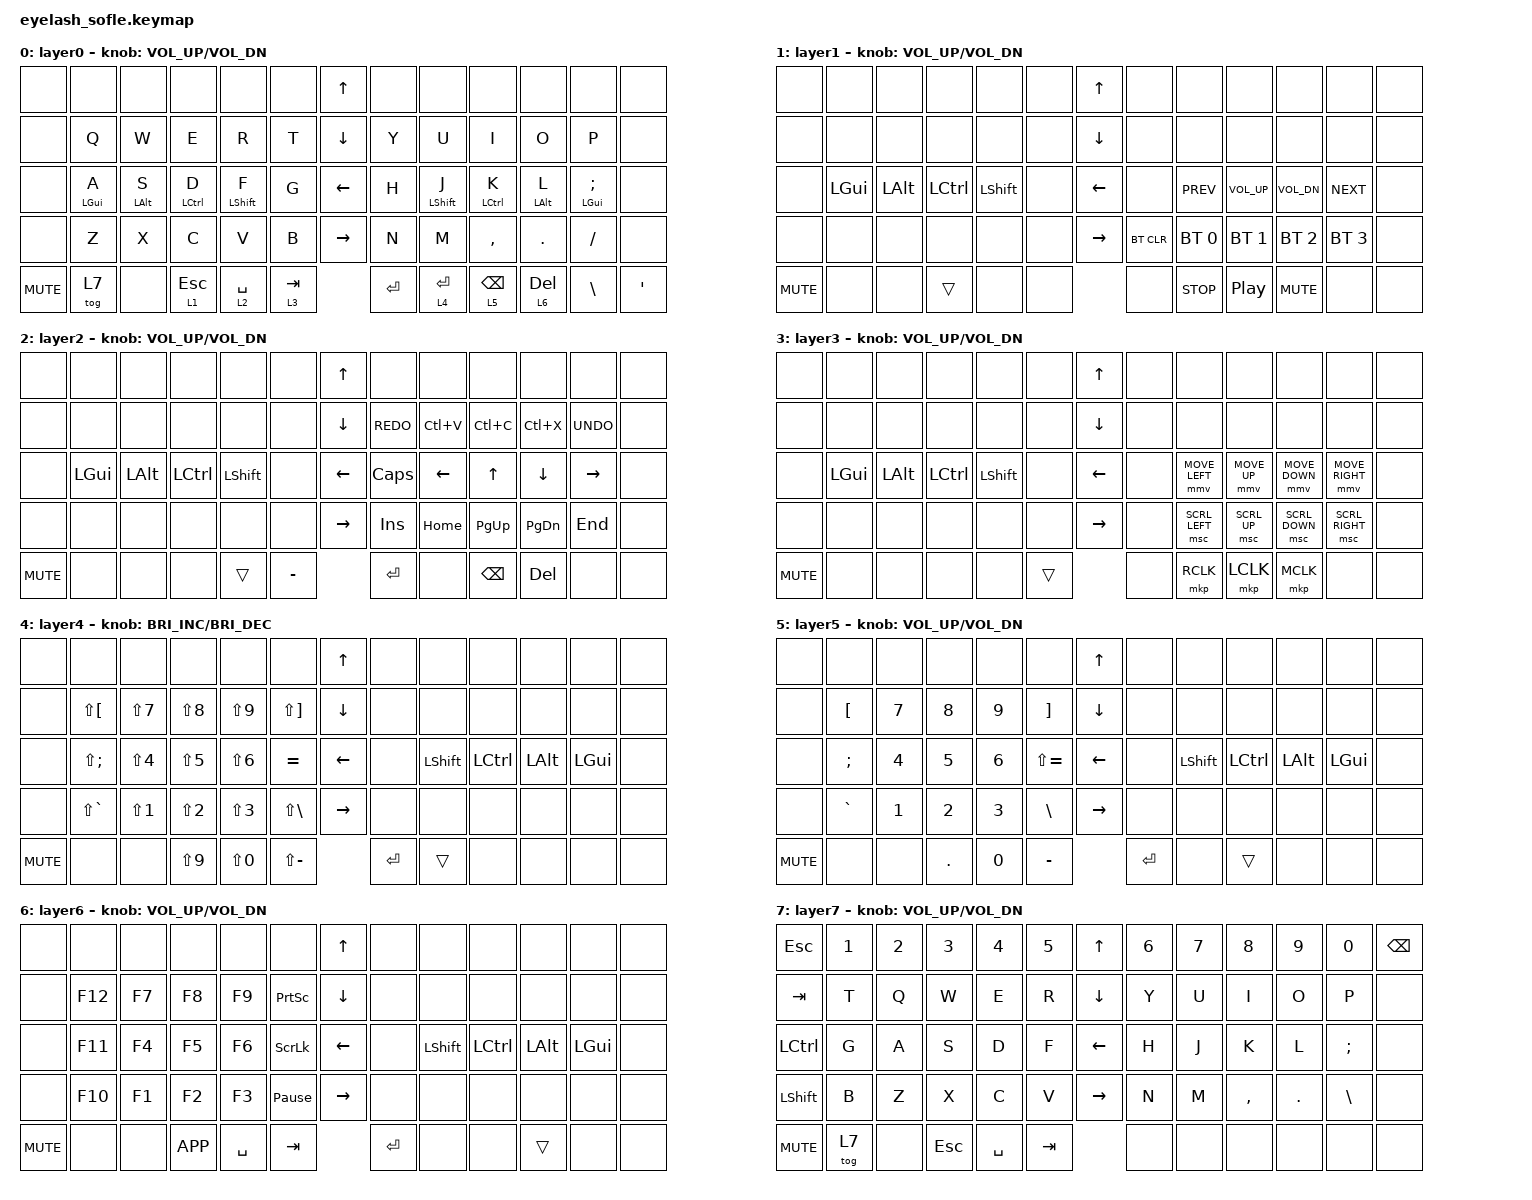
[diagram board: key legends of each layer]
#define ZMK_POINTING_DEFAULT_MOVE_VAL 1200  // 600
#define ZMK_POINTING_DEFAULT_SCRL_VAL 25   // 10

#include <input/processors.dtsi>
#include <zephyr/dt-bindings/input/input-event-codes.h>
#include <behaviors.dtsi>
#include <dt-bindings/zmk/bt.h>
#include <dt-bindings/zmk/keys.h>
#include <dt-bindings/zmk/outputs.h>
#include <dt-bindings/zmk/pointing.h>
#include <dt-bindings/zmk/rgb.h>

&mmv_input_listener { input-processors = <&zip_xy_scaler 2 1>; };

&msc_input_listener { input-processors = <&zip_scroll_scaler 2 1>; };

&msc {
    acceleration-exponent = <1>;      // 0
    time-to-max-speed-ms = <100>;       // 300
    delay-ms = <0>;                   // 0
};

&mmv {
    time-to-max-speed-ms = <500>;
    acceleration-exponent = <1>;
    trigger-period-ms = <16>;
};

&soft_off { hold-time-ms = <2000>; };

&mt {
    flavor = "tap-preferred";
    tapping-term-ms = <150>;
    quick-tap-ms = <75>;
    require-prior-idle-ms = <50>;
    bindings = <&kp>, <&kp>;
    hold-trigger-on-release;
};

&lt {
    flavor = "tap-preferred";
    tapping-term-ms = <150>;
    quick-tap-ms = <75>;
    require-prior-idle-ms = <50>;
    bindings = <&mo>, <&kp>;
    hold-trigger-on-release;
};

/ {
    scroll_encoder: scroll_encoder {
        compatible = "zmk,behavior-sensor-rotate";
        #sensor-binding-cells = <0>;
        bindings = <&msc SCRL_DOWN>, <&msc SCRL_UP>;

        tap-ms = <100>;
    };

    behaviors {
    };

    combos {
        compatible = "zmk,combos";

        softoff {
            bindings = <&soft_off>;
            key-positions = <14 28 40>;
        };
    };

    keymap {
        compatible = "zmk,keymap";

        layer0 {
            bindings = <
                &none             &none           &none              &none        &none           &none                     &kp UP                             &none             &none             &none         &none           &none                 &none
                &none             &kp Q           &kp W              &kp E        &kp R           &kp T                     &kp DOWN                           &kp Y             &kp U             &kp I         &kp O           &kp P                 &none
                &none             &mt LGUI A      &mt LALT S         &mt LCTRL D  &mt LSHFT F     &kp G                     &kp LEFT                           &kp H             &mt LSHFT J       &mt LCTRL K   &mt LALT L      &mt LGUI SEMI         &none
                &none             &kp Z           &kp X              &kp C        &kp V           &kp B                     &kp RIGHT                          &kp N             &kp M             &kp COMMA     &kp DOT         &kp FSLH              &none
                &kp C_MUTE                        &tog 7              &none       &lt 1 ESCAPE    &lt 2 SPACE  &lt 3 TAB    &kp ENTER          &lt 4 ENTER     &lt 5 BACKSPACE   &lt 6 DELETE      &kp BSLH      &kp APOS
            >;

            sensor-bindings = <&inc_dec_kp C_VOLUME_UP C_VOL_DN>;
        };

        layer1 {
            bindings = <
                &none             &none           &none              &none          &none          &none                         &kp UP                       &none          &none          &none          &none          &none             &none
                &none             &none           &none              &none          &none          &none                         &kp DOWN                     &none          &none          &none          &none          &none             &none
                &none             &kp LGUI        &kp LALT           &kp LCTRL      &kp LSHFT      &none                         &kp LEFT                     &none          &kp C_PREV     &kp C_VOL_UP   &kp C_VOL_DN    &kp C_NEXT       &none
                &none             &none           &none              &none          &none          &none                         &kp RIGHT                    &bt BT_CLR     &bt BT_SEL 0   &bt BT_SEL 1   &bt BT_SEL 2   &bt BT_SEL 3      &none
                &kp C_MUTE                        &none              &none          &trans          &none          &none          &none          &kp C_STOP   &kp C_PP       &kp C_MUTE     &none          &none
            >;

            sensor-bindings = <&inc_dec_kp C_VOLUME_UP C_VOL_DN>;
        };

        layer2 {
            bindings = <
                &none             &none         &none            &none          &none          &none                 &kp UP                       &none         &none         &none       &none           &none        &none
                &none             &none         &none            &none          &none          &none                 &kp DOWN                     &kp K_REDO     &kp LC(V)      &kp LC(C)    &kp LC(X)        &kp K_UNDO      &none
                &none             &kp LGUI       &kp LALT          &kp LCTL        &kp LSHFT       &none                 &kp LEFT                     &kp CAPS       &kp LEFT       &kp UP       &kp DOWN         &kp RIGHT     &none
                &none             &none         &none            &none          &none          &none                 &kp RIGHT                    &kp INSERT     &kp HOME       &kp PG_UP    &kp PG_DN        &kp END       &none
                &kp C_MUTE                        &none            &none          &none          &trans    &kp MINUS    &kp ENTER             &none &kp BACKSPACE  &kp DELETE     &none       &none
            >;

            sensor-bindings = <&inc_dec_kp C_VOLUME_UP C_VOL_DN>;
        };

        layer3 {
            bindings = <
                &none             &none           &none              &none          &none          &none                          &kp UP                       &none    &none            &none         &none           &none             &none
                &none             &none           &none              &none          &none          &none                          &kp DOWN                     &none    &none            &none         &none           &none             &none
                &none             &kp LGUI        &kp LALT             &kp LCTRL       &kp LSHFT       &none                          &kp LEFT                     &none    &mmv MOVE_LEFT    &mmv MOVE_UP   &mmv MOVE_DOWN   &mmv MOVE_RIGHT    &none
                &none             &none           &none              &none          &none          &none                          &kp RIGHT                    &none    &msc SCRL_LEFT    &msc SCRL_UP   &msc SCRL_DOWN   &msc SCRL_RIGHT     &none
                &kp C_MUTE                          &none              &none          &none          &none          &trans          &none          &mkp RCLK       &mkp LCLK    &mkp MCLK      &none      &none
            >;

            sensor-bindings = <&inc_dec_kp C_VOLUME_UP C_VOL_DN>;
        };

        layer4 {
            bindings = <
                &none             &none         &none            &none          &none          &none                     &kp UP                       &none         &none         &none       &none           &none        &none
                &none             &kp LS(LBKT)   &kp LS(N7)        &kp LS(N8)      &kp LS(N9)      &kp LS(RBKT)               &kp DOWN                     &none         &none         &none       &none           &none        &none
                &none             &kp LS(SEMI)   &kp LS(N4)        &kp LS(N5)      &kp LS(N6)      &kp EQUAL                  &kp LEFT                     &none         &kp LSHFT      &kp LCTL     &kp LALT         &kp LGUI      &none
                &none             &kp LS(GRAVE)  &kp LS(N1)        &kp LS(N2)      &kp LS(N3)      &kp LS(BSLH)               &kp RIGHT                    &none         &none         &none       &none           &none        &none
                &kp C_MUTE                        &none            &none          &kp LS(N9)      &kp LS(N0)   &kp LS(MINUS) &kp ENTER       &trans       &none         &none         &none       &none
            >;

            sensor-bindings = <&inc_dec_kp C_BRIGHTNESS_INC C_BRIGHTNESS_DEC>;
        };


        layer5 {
            bindings = <
                &none             &none         &none            &none          &none          &none                 &kp UP                           &none         &none         &none       &none           &none        &none
                &none             &kp LBKT      &kp N7           &kp N8         &kp N9         &kp RBKT               &kp DOWN                        &none         &none         &none       &none           &none        &none
                &none             &kp SEMI      &kp N4           &kp N5         &kp N6         &kp LS(EQUAL)          &kp LEFT                        &none         &kp LSHFT     &kp LCTL    &kp LALT        &kp LGUI     &none
                &none             &kp GRAVE     &kp N1           &kp N2         &kp N3         &kp BSLH               &kp RIGHT                       &none         &none         &none       &none           &none        &none
                &kp C_MUTE                      &none            &none          &kp PERIOD     &kp N0    &kp MINUS    &kp ENTER             &none     &trans         &none         &none       &none
            >;

            sensor-bindings = <&inc_dec_kp C_VOLUME_UP C_VOL_DN>;
        };


        layer6 {
            bindings = <
                &none             &none         &none            &none          &none          &none                 &kp UP                       &none         &none         &none       &none           &none        &none
                &none             &kp F12        &kp F7            &kp F8          &kp F9          &kp PSCRN              &kp DOWN                     &none         &none         &none       &none           &none        &none
                &none             &kp F11        &kp F4            &kp F5          &kp F6          &kp SLCK               &kp LEFT                     &none         &kp LSHFT      &kp LCTL     &kp LALT         &kp LGUI      &none
                &none             &kp F10        &kp F1            &kp F2          &kp F3          &kp PAUSE_BREAK        &kp RIGHT                    &none         &none         &none       &none           &none        &none
                &kp C_MUTE                        &none            &none          &kp K_APP          &kp SPACE    &kp TAB       &kp ENTER             &none       &none         &trans         &none       &none
            >;

            sensor-bindings = <&inc_dec_kp C_VOLUME_UP C_VOL_DN>;
        };


        layer7 {
            bindings = <
                &kp ESCAPE        &kp N1        &kp N2       &kp N3      &kp N4      &kp N5                         &kp UP                        &kp N6      &kp N7         &kp N8        &kp N9     &kp N0         &kp BSPC
                &kp TAB           &kp T         &kp Q        &kp W       &kp E       &kp R                          &kp DOWN                      &kp Y       &kp U          &kp I         &kp O      &kp P          &none
                &kp LCTRL         &kp G         &kp A        &kp S       &kp D       &kp F                          &kp LEFT                      &kp H       &kp J          &kp K         &kp L      &kp SEMI       &none
                &kp LSHFT         &kp B         &kp Z        &kp X       &kp C       &kp V                          &kp RIGHT                     &kp N       &kp M          &kp COMMA     &kp DOT    &kp BSLH       &none
                &kp C_MUTE                      &tog 7       &none       &kp ESCAPE  &kp SPACE    &kp TAB            &none          &none        &none      &none         &none        &none
            >;

            sensor-bindings = <&inc_dec_kp C_VOLUME_UP C_VOL_DN>;
        };
        /* layer5 { */
        /*     bindings = < */
        /*         &trans             &trans           &trans              &trans          &trans          &trans          &kp UP                       &trans           &trans         &trans       &trans           &trans                 &trans */
        /*         &trans             &trans           &trans              &trans          &trans          &trans          &kp DOWN                     &trans            &trans          &trans        &trans            &trans                  &trans */
        /*         &trans             &trans           &trans              &trans          &trans          &trans          &kp LEFT                     &trans            &trans    &trans  &trans      &trans          &trans */
        /*         &trans             &trans           &trans              &trans          &trans          &trans          &kp RIGHT                    &trans            &trans          &trans    &trans        &trans               &trans */
        /*         &kp C_MUTE                          &trans              &trans          &trans          &trans          &trans          &trans          &trans          &trans          &trans          &trans          &trans */
        /*     >; */
        /**/
        /*     sensor-bindings = <&inc_dec_kp C_VOLUME_UP C_VOL_DN>; */
        /* }; */
    };
};
